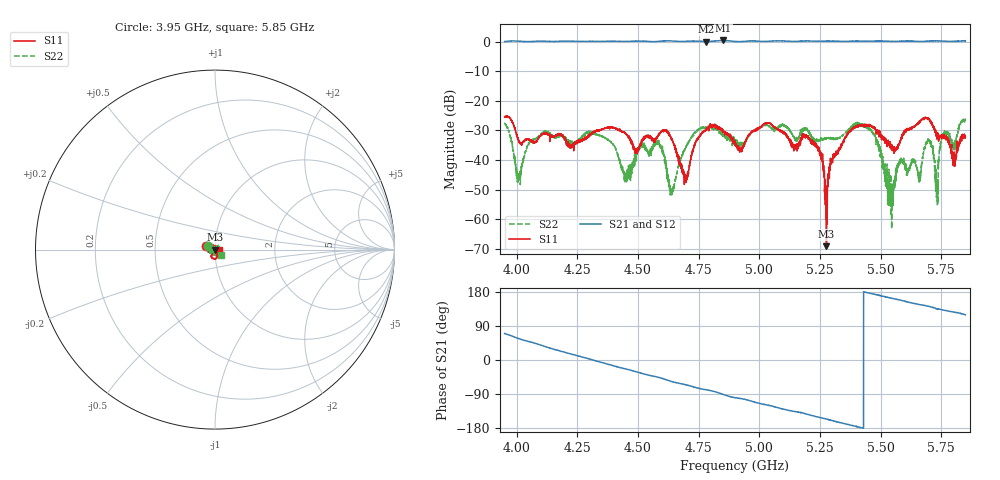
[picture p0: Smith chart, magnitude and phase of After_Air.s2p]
# GHZ S RI R 50.000000000000
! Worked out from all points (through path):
!   4501 points, 3.95 GHz to 5.85 GHz, reference 50 ohm
!   highest |S21| = 0.43 dB at 4.851 GHz (marker M1); lowest = 0.0 dB at 4.782 GHz (marker M2)
!   group delay of S21, straight-line fit = 447 ps
!   lowest |S11| = -69.1 dB at 5.277 GHz (marker M3), VSWR 1.00, Z = 50 + j0.0146 ohm
!   |S11| at or under -10 dB: start of sweep to end of sweep
!   |S22| runs from -63.2 to -26.1 dB; largest |S21 - S12| = 0.055
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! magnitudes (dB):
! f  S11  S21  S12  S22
! 3.95 GHz  -25.5  0.1  0.0  -27.8
! 4.008 GHz  -33.2  0.2  0.3  -46.7
! 4.109 GHz  -31.0  0.2  0.2  -30.5
! 4.267 GHz  -33.5  0.1  0.1  -32.3
! 4.451 GHz  -31.2  0.1  0.1  -45.5
! 4.584 GHz  -31.8  0.1  0.1  -33.7
! 4.64 GHz  -33.0  0.2  0.3  -50.1
! 4.698 GHz  -47.1  0.2  0.2  -35.6
! 4.782 GHz  -29.7  0.0  0.0  -29.2
! 4.851 GHz  -30.2  0.4  0.4  -31.8
! 4.9 GHz  -34.6  0.1  0.2  -33.4
! 5.217 GHz  -33.8  0.2  0.3  -32.4
! 5.277 GHz  -69.1  0.2  0.2  -32.7
! 5.359 GHz  -31.8  0.1  0.2  -30.5
! 5.456 GHz  -28.3  0.2  0.2  -29.5
! 5.534 GHz  -34.2  0.2  0.2  -51.4
! 5.661 GHz  -26.9  0.1  0.1  -45.1
! 5.699 GHz  -25.9  0.2  0.3  -33.2
! 5.731 GHz  -31.2  0.3  0.3  -49.7
! 5.76 GHz  -32.3  0.2  0.2  -31.5
! 5.804 GHz  -40.7  0.1  0.1  -36.4
! 5.85 GHz  -32.2  0.3  0.4  -26.5
